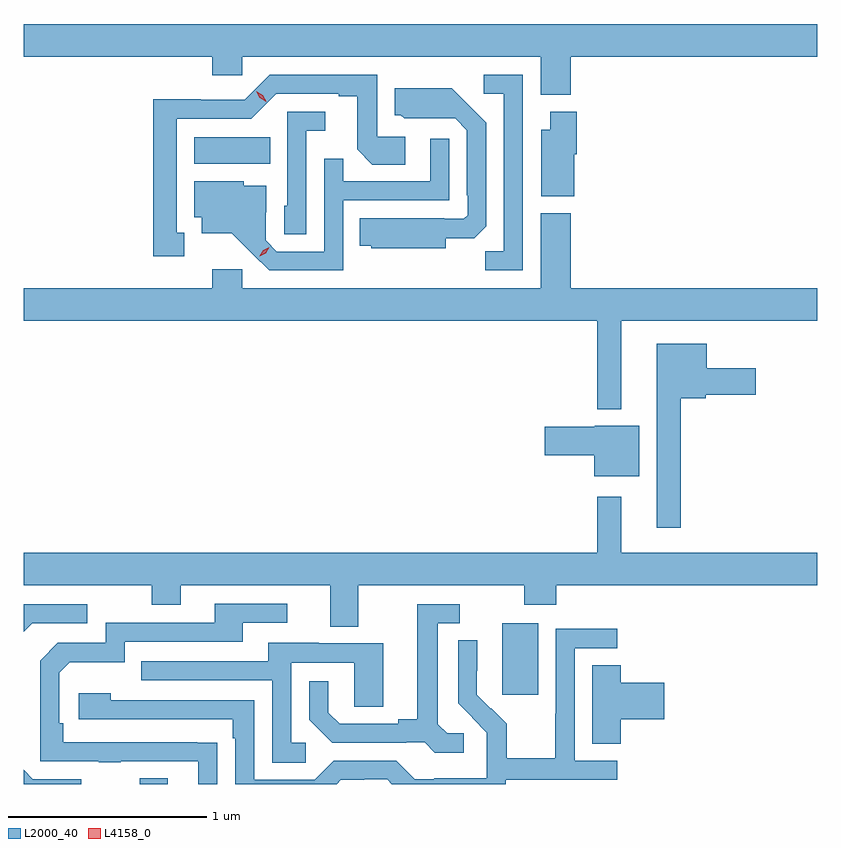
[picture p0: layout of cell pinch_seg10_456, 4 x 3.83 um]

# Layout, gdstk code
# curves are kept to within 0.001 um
import gdstk
lib = gdstk.Library(unit=1e-6, precision=1e-09)
def R(c, l, rs):  # rectangles x0, y0, x1, y1
    for r in rs: c.add(gdstk.rectangle(r[:2], r[2:], *l))
def P(c, l, *ps):  # polygons
    for p in ps: c.add(gdstk.Polygon(p, *l))
L2000_40 = (2000, 40)
L4158_0 = (4158, 0)

pinch_seg10_456 = lib.new_cell('pinch_seg10_456')
R(pinch_seg10_456, L2000_40, [(289.169,1289.991,289.309,1290.019), (290.996,1290.441,291.175,1290.802), (289.442,1293.116,289.826,1293.25)])
P(pinch_seg10_456, L2000_40, [(291.341,1293.656),(292.583,1293.656),(292.583,1293.82),(288.583,1293.82),(288.583,1293.656),(289.535,1293.656),(289.535,1293.563),(289.686,1293.563),(289.686,1293.656),(291.188,1293.656),(291.188,1293.464),(291.341,1293.464)],
  [(291.099,1293.564),(290.901,1293.564),(290.901,1293.468),(291.003,1293.468),(291.003,1292.675),(290.908,1292.675),(290.908,1292.58),(291.099,1292.58)],
  [(289.393,1292.769),(289.354,1292.769),(289.354,1293.342),(289.731,1293.342),(289.857,1293.468),(290.171,1293.468),(290.171,1293.456),(290.265,1293.456),(290.265,1293.188),(290.341,1293.112),(290.506,1293.112),(290.506,1293.252),(290.364,1293.252),(290.364,1293.564),(289.824,1293.564),(289.698,1293.438),(289.476,1293.438),(289.476,1293.44),(289.236,1293.44),(289.236,1292.649),(289.393,1292.649)],
  [(290.71,1292.741),(290.854,1292.741),(290.913,1292.8),(290.913,1293.322),(290.741,1293.496),(290.453,1293.496),(290.453,1293.36),(290.484,1293.36),(290.5,1293.344),(290.757,1293.345),(290.817,1293.285),(290.817,1292.956),(290.82,1292.956),(290.82,1292.856),(290.802,1292.838),(290.702,1292.838),(290.702,1292.842),(290.278,1292.842),(290.278,1292.702),(290.334,1292.702),(290.334,1292.69),(290.71,1292.69)],
  [(291.358,1293.165),(291.371,1293.165),(291.371,1293.379),(291.236,1293.379),(291.236,1293.286),(291.191,1293.286),(291.191,1292.951),(291.358,1292.951)],
  [(290.007,1293.281),(290.104,1293.281),(290.104,1293.378),(289.911,1293.378),(289.911,1292.904),(289.896,1292.904),(289.896,1292.761),(290.007,1292.761)],
  [(290.193,1292.931),(290.727,1292.931),(290.727,1293.241),(290.631,1293.241),(290.631,1293.027),(290.195,1293.027),(290.195,1293.14),(290.097,1293.14),(290.097,1292.673),(289.86,1292.673),(289.803,1292.73),(289.803,1292.872),(289.807,1292.872),(289.807,1293.004),(289.692,1293.004),(289.692,1293.028),(289.442,1293.028),(289.442,1292.846),(289.481,1292.846),(289.481,1292.765),(289.633,1292.765),(289.82,1292.58),(290.193,1292.58)],
  [(291.595,1292.324),(292.583,1292.324),(292.583,1292.488),(291.341,1292.488),(291.341,1292.866),(291.188,1292.866),(291.188,1292.488),(289.686,1292.488),(289.686,1292.584),(289.535,1292.584),(289.535,1292.488),(288.583,1292.488),(288.583,1292.324),(291.474,1292.324),(291.474,1291.88),(291.595,1291.88)],
  [(291.895,1291.934),(292.02,1291.934),(292.02,1291.952),(292.273,1291.952),(292.273,1292.086),(292.024,1292.086),(292.024,1292.209),(291.773,1292.209),(291.773,1291.281),(291.895,1291.281)],
  [(291.685,1291.795),(291.462,1291.795),(291.462,1291.79),(291.21,1291.79),(291.21,1291.648),(291.458,1291.648),(291.458,1291.541),(291.685,1291.541)],
  [(290.269,1290.992),(291.106,1290.992),(291.106,1290.893),(291.266,1290.893),(291.266,1290.992),(292.583,1290.992),(292.583,1291.156),(291.595,1291.156),(291.595,1291.438),(291.474,1291.438),(291.474,1291.156),(288.583,1291.156),(288.583,1290.992),(289.228,1290.992),(289.228,1290.893),(289.375,1290.893),(289.375,1290.992),(290.129,1290.992),(290.129,1290.784),(290.269,1290.784)],
  [(289.559,1290.2),(288.782,1290.201),(288.782,1290.298),(288.762,1290.298),(288.762,1290.552),(288.815,1290.605),(289.092,1290.605),(289.092,1290.708),(289.687,1290.708),(289.687,1290.804),(289.912,1290.804),(289.912,1290.9),(289.547,1290.9),(289.547,1290.804),(288.996,1290.804),(288.996,1290.702),(288.756,1290.702),(288.666,1290.612),(288.666,1290.105),(288.961,1290.105),(288.961,1290.1),(289.073,1290.1),(289.073,1290.105),(289.463,1290.105),(289.463,1289.991),(289.559,1289.991)],
  [(288.627,1290.801),(288.904,1290.801),(288.904,1290.897),(288.583,1290.897),(288.583,1290.757)],
  [(290.8,1290.246),(290.718,1290.246),(290.671,1290.293),(290.671,1290.801),(290.782,1290.801),(290.782,1290.897),(290.567,1290.897),(290.567,1290.317),(290.471,1290.317),(290.471,1290.294),(290.176,1290.294),(290.119,1290.351),(290.119,1290.508),(290.022,1290.508),(290.022,1290.314),(290.138,1290.198),(290.51,1290.198),(290.51,1290.201),(290.604,1290.201),(290.656,1290.149),(290.8,1290.149)],
  [(290.181,1290.012),(290.3,1290.012),(290.3,1290.015),(290.415,1290.015),(290.439,1289.991),(291.012,1289.991),(291.012,1290.012),(291.574,1290.012),(291.574,1290.108),(291.36,1290.108),(291.36,1290.675),(291.574,1290.675),(291.574,1290.774),(291.264,1290.774),(291.264,1290.344),(291.262,1290.344),(291.262,1290.121),(291.017,1290.121),(291.017,1290.295),(290.94,1290.372),(290.937,1290.369),(290.867,1290.44),(290.868,1290.716),(290.772,1290.716),(290.772,1290.398),(290.918,1290.25),(290.918,1290.153),(290.916,1290.153),(290.916,1290.019),(290.653,1290.019),(290.653,1290.015),(290.553,1290.015),(290.46,1290.108),(290.145,1290.108),(290.049,1290.012),(289.746,1290.012),(289.746,1290.414),(289.022,1290.414),(289.022,1290.448),(288.861,1290.448),(288.861,1290.318),(289.637,1290.318),(289.637,1290.221),(289.65,1290.221),(289.65,1289.991),(290.16,1289.991)],
  [(290.005,1290.198),(289.932,1290.198),(289.932,1290.603),(290.25,1290.603),(290.25,1290.379),(290.395,1290.379),(290.395,1290.699),(290.071,1290.699),(290.071,1290.703),(289.817,1290.703),(289.817,1290.609),(289.177,1290.609),(289.177,1290.513),(289.836,1290.513),(289.836,1290.097),(290.005,1290.097)],
  [(291.593,1290.317),(291.811,1290.317),(291.811,1290.5),(291.593,1290.5),(291.593,1290.59),(291.449,1290.59),(291.449,1290.193),(291.593,1290.193)],
  [(288.874,1290.015),(288.63,1290.015),(288.583,1290.062),(288.583,1289.991),(288.874,1289.991)])
P(pinch_seg10_456, L4158_0, [(289.772,1292.651),(289.772,1292.652),(289.79,1292.681),(289.82,1292.696),(289.821,1292.696),(289.821,1292.695),(289.803,1292.666),(289.772,1292.651)],
  [(289.805,1293.429),(289.773,1293.448),(289.756,1293.481),(289.756,1293.481),(289.756,1293.481),(289.788,1293.462),(289.805,1293.43),(289.805,1293.429)])

lib.write_gds('pinch_seg10_456.gds')
